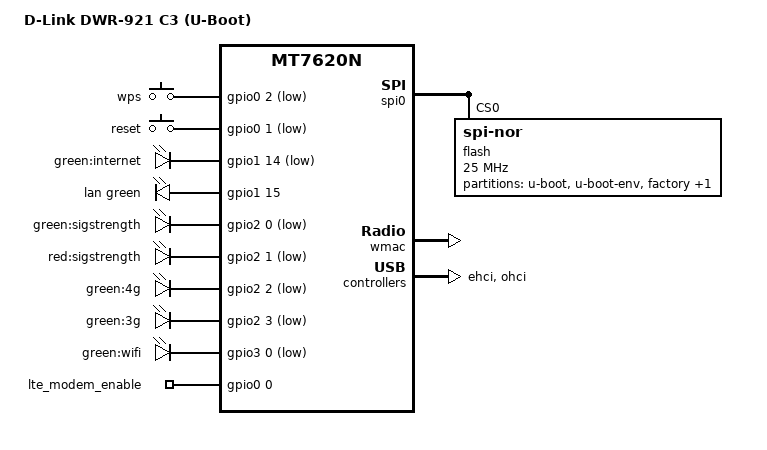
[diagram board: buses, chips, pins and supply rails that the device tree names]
// SPDX-License-Identifier: GPL-2.0-only OR MIT

#include "mt7620n.dtsi"

#include <dt-bindings/gpio/gpio.h>
#include <dt-bindings/input/input.h>
#include <dt-bindings/leds/common.h>

/ {
	compatible = "dlink,dwr-921-c3-uboot", "ralink,mt7620n-soc";
	model = "D-Link DWR-921 C3 (U-Boot)";

	aliases {
		led-boot = &led_sigstrength;
		led-failsafe = &led_sigstrength;
	};

	keys {
		compatible = "gpio-keys";

		wps {
			label = "wps";
			gpios = <&gpio0 2 GPIO_ACTIVE_LOW>;
			linux,code = <KEY_WPS_BUTTON>;
		};

		reset {
			label = "reset";
			gpios = <&gpio0 1 GPIO_ACTIVE_LOW>;
			linux,code = <KEY_RESTART>;
		};
	};

	leds {
		compatible = "gpio-leds";

		internet {
			label = "green:internet";
			gpios = <&gpio1 14 GPIO_ACTIVE_LOW>;
		};

		lan {
			function = LED_FUNCTION_LAN;
			color = <LED_COLOR_ID_GREEN>;
			gpios = <&gpio1 15 GPIO_ACTIVE_HIGH>;
		};

		led_sigstrength: sigstrength {
			label = "green:sigstrength";
			gpios = <&gpio2 0 GPIO_ACTIVE_LOW>;
		};

		sigstrength_red {
			label = "red:sigstrength";
			gpios = <&gpio2 1 GPIO_ACTIVE_LOW>;
		};

		four_g {
			label = "green:4g";
			gpios = <&gpio2 2 GPIO_ACTIVE_LOW>;
		};

		three_g {
			label = "green:3g";
			gpios = <&gpio2 3 GPIO_ACTIVE_LOW>;
		};

		wifi {
			label = "green:wifi";
			gpios = <&gpio3 0 GPIO_ACTIVE_LOW>;
		};
	};

	gpio_export {
		compatible = "gpio-export";

		lte_modem_enable {
			gpio-export,name = "lte_modem_enable";
			gpio-export,output = <1>;
			gpios = <&gpio0 0 GPIO_ACTIVE_HIGH>;
		};
	};
};

&gpio1 {
	status = "okay";
};

&gpio2 {
	status = "okay";
};

&gpio3 {
	status = "okay";
};

&spi0 {
	status = "okay";

	flash@0 {
		compatible = "jedec,spi-nor";
		reg = <0>;
		spi-max-frequency = <25000000>;

		partitions {
			compatible = "fixed-partitions";
			#address-cells = <1>;
			#size-cells = <1>;

			partition@0 {
				label = "u-boot";
				reg = <0x000000 0x030000>;
				read-only;
			};

			partition@30000 {
				label = "u-boot-env";
				reg = <0x030000 0x010000>;
			};

			factory: partition@40000 {
				label = "factory";
				reg = <0x040000 0x010000>;
				read-only;

				nvmem-layout {
					compatible = "fixed-layout";
					#address-cells = <1>;
					#size-cells = <1>;

					eeprom_factory_0: eeprom@0 {
						reg = <0x0000 0x0200>;
					};

					macaddr_factory_4: macaddr@4 {
						compatible = "mac-base";
						reg = <0x0004 0x0006>;
						#nvmem-cell-cells = <1>;
					};

					macaddr_factory_28: macaddr@28 {
						reg = <0x0028 0x0006>;
					};
				};
			};

			partition@50000 {
				compatible = "denx,uimage";
				label = "firmware";
				reg = <0x050000 0xfb0000>;
			};
		};
	};
};

&ethernet {
	/* Factory+0x28 is the stock eth2/U-Boot MAC. */
	nvmem-cells = <&macaddr_factory_28>;
	nvmem-cell-names = "mac-address";
};

&wmac {
	/* Factory begins with the MT7620 EEPROM; preserve its calibration MAC. */
	nvmem-cells = <&eeprom_factory_0>;
	nvmem-cell-names = "eeprom";
};

&ehci {
	status = "okay";
};

&ohci {
	status = "okay";
};

&state_default {
	default {
		groups = "spi refclk", "i2c", "ephy", "wled";
		function = "gpio";
	};
};
